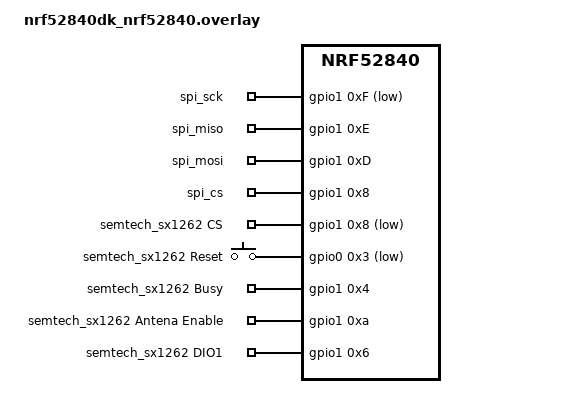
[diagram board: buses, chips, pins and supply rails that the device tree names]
/*
 * Copyright (c) 2023 Nordic Semiconductor ASA
 *
 * SPDX-License-Identifier: LicenseRef-Nordic-5-Clause
 */

&spi3 {
	status = "disabled";
};

&spi2 {
	status = "disabled";
};

/{
	nrfx_spi_gpios{
		compatible = "gpio-keys";
		nrfx_spi_sck: sck {
			gpios = <&gpio1 0xF GPIO_ACTIVE_LOW>;
			label = "spi_sck";
		};
		nrfx_spi_miso: miso {
			gpios = <&gpio1 0xE GPIO_ACTIVE_HIGH>;
			label = "spi_miso";
		};
		nrfx_spi_mosi: mosi {
			gpios = <&gpio1 0xD GPIO_ACTIVE_HIGH>;
			label = "spi_mosi";
		};
		nrfx_spi_cs: cs {
			gpios = <&gpio1 0x8 GPIO_ACTIVE_HIGH>;
			label = "spi_cs";
		};
	};

	semtech_sx1262_gpios{
		compatible = "gpio-keys";
		semtech_sx1262_cs: cs {
			gpios = <&gpio1 0x8 GPIO_ACTIVE_LOW>;
			label = "semtech_sx1262 CS";
		};
		semtech_sx1262_reset_gpios: reset {
			gpios = <&gpio0 0x3 GPIO_ACTIVE_LOW>;
			label = "semtech_sx1262 Reset";
		};
		semtech_sx1262_busy_gpios: busy {
			gpios = <&gpio1 0x4 GPIO_ACTIVE_HIGH>;
			label = "semtech_sx1262 Busy";
		};
		semtech_sx1262_antenna_enable_gpios: antena_enable {
			gpios = <&gpio1 0xa GPIO_ACTIVE_HIGH>;
			label = "semtech_sx1262 Antena Enable";
		};
		semtech_sx1262_dio1_gpios: dio1 {
			gpios = <&gpio1 0x6 GPIO_ACTIVE_HIGH>;
			label = "semtech_sx1262 DIO1";
		};
	};

	chosen {
		nordic,pm-ext-flash = &mx25r64;
	};
};
